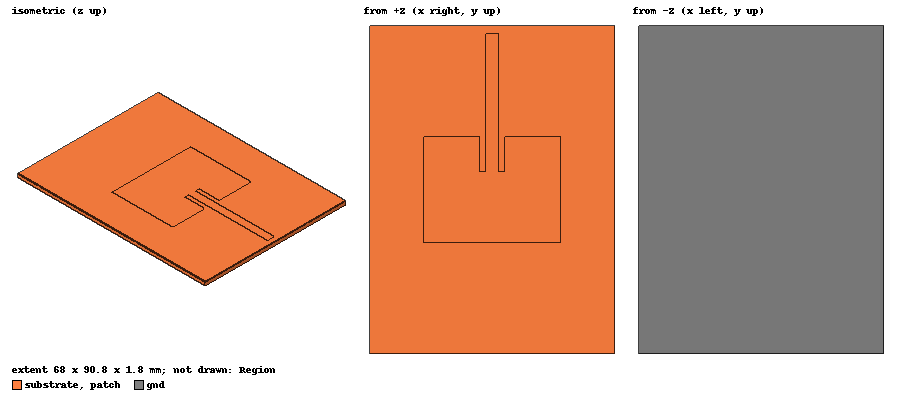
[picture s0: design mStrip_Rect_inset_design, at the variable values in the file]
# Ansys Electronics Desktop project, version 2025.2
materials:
  vacuum: permittivity=1
  FR4_epoxy: permittivity=4.4 dielectric_loss_tangent=0.02
  Duroid (tm): permittivity=2.2 dielectric_loss_tangent=0.0009

design mStrip_Rect_inset_design (HFSS, HFSS Terminal Network, model units mm)
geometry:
  gnd = rectangle(corner=(0mm, 0mm, 0mm), x_size=68mm, y_size=90.8mm)
  gnd.move(-34mm, -45.4mm, 0mm)
  substrate [FR4_epoxy] = box(corner=(-34mm, -45.4mm, 0mm), size=(68mm, 90.8mm, 1.8mm))
  patch = rectangle(corner=(0mm, 0mm, 1.8mm), x_size=38mm, y_size=29.4mm)
  patch.move(-19mm, -14.7mm, 0mm)
  Rectangle2 = rectangle(corner=(0mm, 14.7mm, 1.8mm), x_size=3.4mm, y_size=28.54mm)
  Rectangle2.move(-1.7mm, 0mm, 0mm)
  Rectangle3 = rectangle(corner=(1.7mm, 14.7mm, 1.8mm), x_size=1.72mm, y_size=9.75mm)
  Rectangle3.move(0.04mm, -9.775mm, -2.220446e-16mm)
  Rectangle3_1 = Rectangle3.duplicate_along_line(step=(-5.2mm, 1.7763568e-15mm, 2.220446e-16mm), total=2)
  Rectangle3_1.move(4.4408921e-16mm, 0.025mm, -2.220446e-16mm)
  Rectangle3_1.move(0.04mm, 0mm, 2.220446e-16mm)
  Rectangle3.move(0mm, 0.025mm, 2.220446e-16mm)
  Rectangle3.move(-0.04mm, 0mm, -2.220446e-16mm)
  patch.unite(Rectangle2)
  patch.subtract(Rectangle3, Rectangle3_1)
  port = rectangle(corner=(1.7mm, 43.24mm, 1.8mm), z_size=-1.8mm, x_size=-3.4mm)
  Region [vacuum] = region(transverse_percentage_offset: +X=50, -X=50, +Y=60, -Y=60, +Z=40, -Z=40)
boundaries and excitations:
  gnd: Perfect E Objects=gnd
  patch: Perfect E Objects=patch
  region: Radiation Objects=Region
  1: Lumped Port Objects=port LumpedPortType=Modal Modes{Mode1{IntLine{(0, 43.24, 0) -> (0, 43.24, 1.8)} CharImp=Zpi}} Impedance=50ohm
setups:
  Setup1: HfssDriven Frequency=2.4GHz MaxDeltaS=0.02 MaximumPasses=12 MinimumPasses=1 MinimumConvergedPasses=1 PercentRefinement=30 BasisOrder=1 PortAccuracy=2 DrivenSolverType="Direct Solver"
    sweep Sweep: 1.2GHz to 3.6GHz, 401 points; Type=Interpolating SaveFields InterpTolerance=0.5 InterpMaxSolns=250 PassivityErrorTolerance=0.0001
    sweep Sweep1: 1GHz to 3GHz step 0.01GHz; Type=Fast SaveFields
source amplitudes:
  1:1: 1V 0deg
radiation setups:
  Infinite Sphere1: Infinite Sphere Theta=0deg..180deg step 10deg Phi=0deg..360deg step 10deg
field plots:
  Vector_E1, Mag_E1: E Field over patch.face(at (0, 14.27, 1.8)) on Setup1 : Sweep1 at Freq=3GHz Phase=0deg
  Mag_H1, Vector_H1: H Field over patch.face(at (0, 14.27, 1.8)) on Setup1 : Sweep1 at Freq=3GHz Phase=0deg
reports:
  S Parameter Plot1: dB(S(1,1)) vs Freq on Setup1 : Sweep
  rE Plot1: dB(rETotal) vs Phi, Theta on Setup1 : LastAdaptive, Infinite Sphere1 [Freq=2.4GHz]
  Gain Plot1: GainTotal vs Theta on Setup1 : LastAdaptive, Infinite Sphere1 [Phi=0deg Freq=2.4GHz]
  Gain Plot2: GainTotal vs Theta on Setup1 : LastAdaptive, Infinite Sphere1 [Phi=0deg,90deg Freq=2.4GHz]
  Gain Table1: dB(GainTotal) vs Theta on Setup1 : LastAdaptive, Infinite Sphere1 [Phi=all Freq=2.4GHz]
